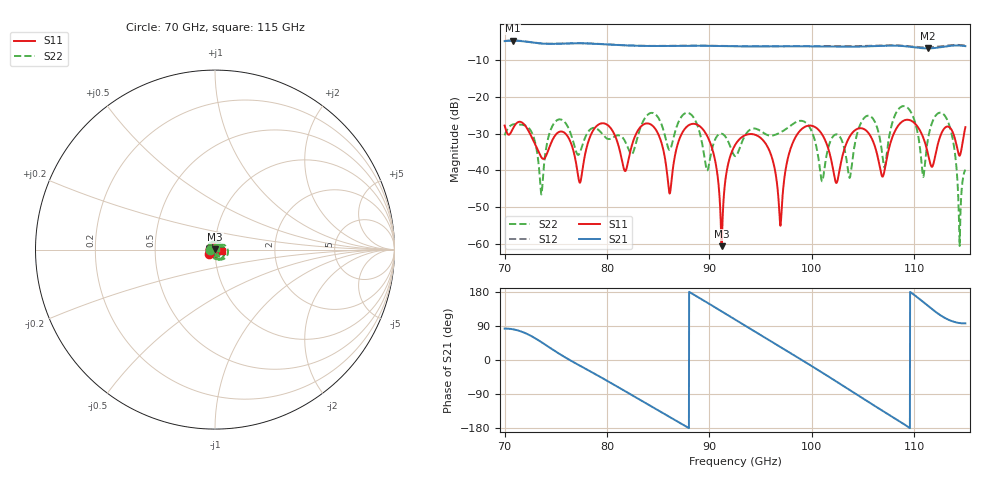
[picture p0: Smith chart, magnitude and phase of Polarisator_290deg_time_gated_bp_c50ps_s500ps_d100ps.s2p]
# Hz S RI R 1.000000
! Metas.Vna.Tools, 2.4.7898.19887
! Metas.Vna.Data, 2.4.7898.19873
! Created: UTC 2021.09.30 14:31:00
! FREQ  re:S1,1  im:S1,1  re:S2,1  im:S2,1  re:S1,2  im:S1,2  re:S2,2  im:S2,2
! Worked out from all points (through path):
!   2251 points, 70 GHz to 115 GHz, reference 1 ohm
!   highest |S21| = -4.63 dB at 70.8 GHz (marker M1); lowest = -6.7 dB at 111.3 GHz (marker M2)
!   lowest |S11| = -60.7 dB at 91.2 GHz (marker M3), VSWR 1.00, Z = 1 + j0.00181 ohm
!   |S11| at or under -10 dB: start of sweep to end of sweep
!   |S22| runs from -60.6 to -22.5 dB; largest |S21 - S12| = 0.08
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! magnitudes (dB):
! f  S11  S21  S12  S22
! 70 GHz  -27.8  -4.8  -4.7  -30.5
! 70.8 GHz  -28.7  -4.6  -4.6  -27.5
! 73.58 GHz  -36.4  -5.4  -5.4  -46.5
! 75.04 GHz  -30.1  -5.5  -5.4  -26.5
! 77.5 GHz  -41.8  -5.3  -5.3  -34.0
! 79.24 GHz  -27.4  -5.5  -5.5  -29.2
! 81.76 GHz  -40.2  -5.9  -5.9  -32.0
! 85 GHz  -30.1  -6.1  -6.0  -25.6
! 86.12 GHz  -46.3  -6.1  -6.0  -34.4
! 89.42 GHz  -29.0  -6.0  -6.0  -34.7
! 91.2 GHz  -60.7  -6.1  -6.1  -30.0
! 92.5 GHz  -33.1  -6.2  -6.1  -36.1
! 95.44 GHz  -32.5  -6.2  -6.1  -30.1
! 96.94 GHz  -55.1  -6.2  -6.1  -29.6
! 100 GHz  -27.8  -6.2  -6.1  -29.4
! 101 GHz  -30.2  -6.2  -6.1  -43.0
! 102.4 GHz  -43.4  -6.3  -6.1  -30.2
! 107.5 GHz  -34.4  -6.0  -5.9  -31.8
! 111.3 GHz  -34.9  -6.7  -6.4  -32.2
! 113.2 GHz  -28.1  -6.1  -5.9  -26.0
! 114.5 GHz  -35.9  -6.0  -5.8  -58.2
! 115 GHz  -28.2  -6.1  -5.9  -39.8
